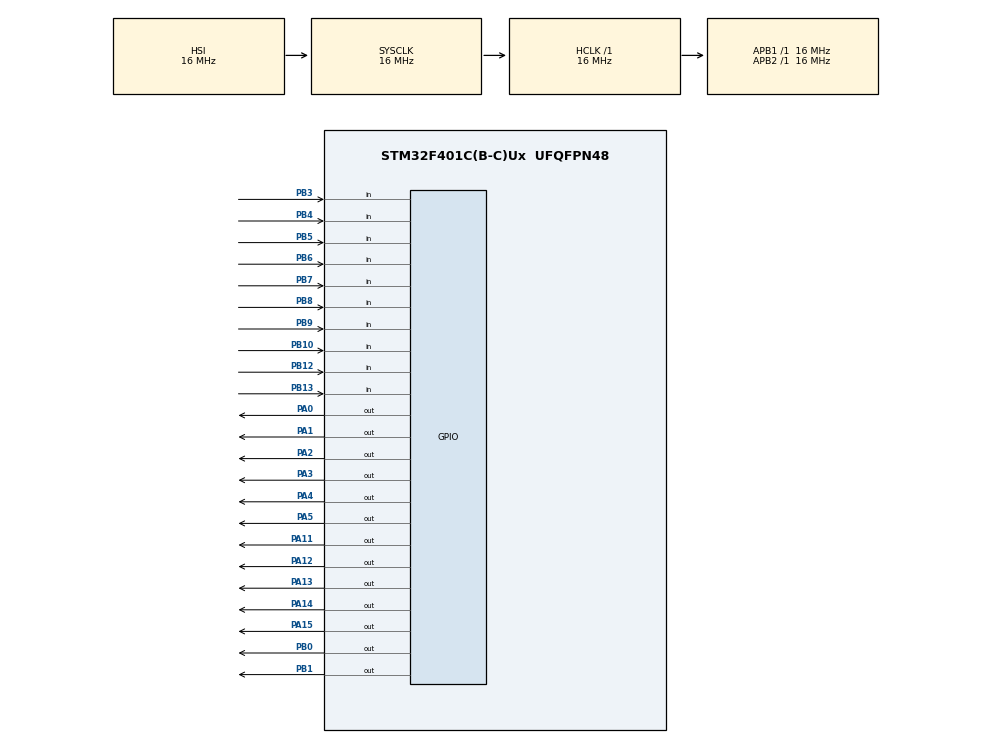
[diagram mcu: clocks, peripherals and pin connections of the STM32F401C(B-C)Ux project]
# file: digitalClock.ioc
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Mcu.Family=STM32F4
Mcu.Name=STM32F401C(B-C)Ux
Mcu.Package=UFQFPN48
NVIC.PriorityGroup=NVIC_PRIORITYGROUP_4
PA0-WKUP.Signal=GPIO_Output
PA1.Signal=GPIO_Output
PA11.Signal=GPIO_Output
PA12.Signal=GPIO_Output
PA13.Signal=GPIO_Output
PA14.Signal=GPIO_Output
PA15.Signal=GPIO_Output
PA2.Signal=GPIO_Output
PA3.Signal=GPIO_Output
PA4.Signal=GPIO_Output
PA5.Signal=GPIO_Output
PB0.Signal=GPIO_Output
PB1.Signal=GPIO_Output
PB10.GPIO_PuPd=GPIO_PULLUP
PB10.Signal=GPIO_Input
PB12.GPIO_PuPd=GPIO_PULLUP
PB12.Signal=GPIO_Input
PB13.GPIO_PuPd=GPIO_PULLUP
PB13.Signal=GPIO_Input
PB3.GPIO_PuPd=GPIO_PULLUP
PB3.Signal=GPIO_Input
PB4.GPIO_PuPd=GPIO_PULLUP
PB4.Signal=GPIO_Input
PB5.GPIO_PuPd=GPIO_PULLUP
PB5.Signal=GPIO_Input
PB6.GPIO_PuPd=GPIO_PULLUP
PB6.Signal=GPIO_Input
PB7.GPIO_PuPd=GPIO_PULLUP
PB7.Signal=GPIO_Input
PB8.GPIO_PuPd=GPIO_PULLUP
PB8.Signal=GPIO_Input
PB9.GPIO_PuPd=GPIO_PULLUP
PB9.Signal=GPIO_Input
ProjectManager.HeapSize=0x200
ProjectManager.StackSize=0x400
ProjectManager.TargetToolchain=STM32CubeIDE
RCC.AHBFreq_Value=16000000
RCC.APB1Freq_Value=16000000
RCC.APB1TimFreq_Value=16000000
RCC.APB2Freq_Value=16000000
RCC.APB2TimFreq_Value=16000000
RCC.CortexFreq_Value=2000000
RCC.Cortex_Div=SYSTICK_CLKSOURCE_HCLK_DIV8
RCC.HCLKFreq_Value=16000000
RCC.HSE_VALUE=25000000
RCC.HSI_VALUE=16000000
RCC.LSE_VALUE=32768
RCC.SYSCLKFreq_VALUE=16000000
RCC.VCOOutputFreq_Value=192000000
TIM4.Period=65535-1
TIM4.Prescaler=16-1
VP_TIM4_VS_ClockSourceINT.Mode=Internal
board=custom

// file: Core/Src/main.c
/* USER CODE BEGIN Header */
/**
  ******************************************************************************
  * @file           : main.c
  * @brief          : Main program body
  ******************************************************************************
  * @attention
  *
  * Copyright (c) 2024 STMicroelectronics.
  * All rights reserved.
  *
  * This software is licensed under terms that can be found in the LICENSE file
  * in the root directory of this software component.
  * If no LICENSE file comes with this software, it is provided AS-IS.
  *
  ******************************************************************************
  */
/* USER CODE END Header */
#include "main.h"

/* USER CODE BEGIN Includes */
#include"Application/Clock.h"
#include"Application/Alarm.h"
/* USER CODE END Includes */

TIM_HandleTypeDef htim4;

void SystemClock_Config(void);
static void MX_GPIO_Init(void);
static void MX_TIM4_Init(void);

int main(void)
{

  /* MCU Configuration--------------------------------------------------------*/

  /* Reset of all peripherals, Initializes the Flash interface and the Systick. */
  HAL_Init();

  /* Configure the system clock */
  SystemClock_Config();

  /* USER CODE BEGIN SysInit */
  /**Configure the Systick interrupt time -> 1000ms
     * then start timer */
  HAL_SYSTICK_Config(SystemCoreClock / HAL_GetTickFreq());
  /** Configure clock source **/
  HAL_SYSTICK_CLKSourceConfig(SYSTICK_CLKSOURCE_HCLK_DIV8);
  /* Disable systick interrupt until init is finished */
  CLEAR_BIT(SysTick->CTRL,SysTick_CTRL_TICKINT_Pos);

  /* USER CODE END SysInit */

  /* Initialize all configured peripherals */
  MX_GPIO_Init();
  MX_TIM4_Init();
  /* USER CODE BEGIN 2 */
  /** start timer to use for LCD delays **/
  HAL_TIM_Base_Start(&htim4);
  /** Init 1 line 16 char LCD   */
  HLCD_voidINIT();
  /** Init Clock **/
  Clock_init();
  /** Enable systick interrupt */
  SET_BIT(SysTick->CTRL,SysTick_CTRL_TICKINT_Pos);

  /* USER CODE END 2 */

  /* Infinite loop */
  while (1)
  {

    /* USER CODE BEGIN 3 */
	  /** check if set clock is pressed **/
	  if(HAL_GPIO_ReadPin(GPIOB, GPIO_PIN_3)==0){
		  Clock_setClock();
	  }
	  /** check if set alarm is pressed **/
	  else if(HAL_GPIO_ReadPin(GPIOB, GPIO_PIN_9)==0){
		  Alaram_setAlarm();
	  }
	  /** check if snooze is pressed **/
	  else if(HAL_GPIO_ReadPin(GPIOB, GPIO_PIN_10)==0){
		  Alarm_Snooze();
	  }
	  /** check if stop alarm is pressed **/
	  else if(HAL_GPIO_ReadPin(GPIOB, GPIO_PIN_12)==0){
		  Alarm_Stop();
	  }
	  /** check if alarm ON/OFF is pressed **/
	  else if(HAL_GPIO_ReadPin(GPIOB, GPIO_PIN_13)==0){
		  Alarm_ON_OFF();
  	  }
  }
  /* USER CODE END 3 */
}

void SystemClock_Config(void)
{
  RCC_OscInitTypeDef RCC_OscInitStruct = {0};
  RCC_ClkInitTypeDef RCC_ClkInitStruct = {0};

  /** Configure the main internal regulator output voltage
  */
  __HAL_RCC_PWR_CLK_ENABLE();
  __HAL_PWR_VOLTAGESCALING_CONFIG(PWR_REGULATOR_VOLTAGE_SCALE2);

  /** Initializes the RCC Oscillators according to the specified parameters
  * in the RCC_OscInitTypeDef structure.
  */
  RCC_OscInitStruct.OscillatorType = RCC_OSCILLATORTYPE_HSI;
  RCC_OscInitStruct.HSIState = RCC_HSI_ON;
  RCC_OscInitStruct.HSICalibrationValue = RCC_HSICALIBRATION_DEFAULT;
  RCC_OscInitStruct.PLL.PLLState = RCC_PLL_NONE;
  if (HAL_RCC_OscConfig(&RCC_OscInitStruct) != HAL_OK)
  {
    Error_Handler();
  }

  /** Initializes the CPU, AHB and APB buses clocks
  */
  RCC_ClkInitStruct.ClockType = RCC_CLOCKTYPE_HCLK|RCC_CLOCKTYPE_SYSCLK
                              |RCC_CLOCKTYPE_PCLK1|RCC_CLOCKTYPE_PCLK2;
  RCC_ClkInitStruct.SYSCLKSource = RCC_SYSCLKSOURCE_HSI;
  RCC_ClkInitStruct.AHBCLKDivider = RCC_SYSCLK_DIV1;
  RCC_ClkInitStruct.APB1CLKDivider = RCC_HCLK_DIV1;
  RCC_ClkInitStruct.APB2CLKDivider = RCC_HCLK_DIV1;

  if (HAL_RCC_ClockConfig(&RCC_ClkInitStruct, FLASH_LATENCY_0) != HAL_OK)
  {
    Error_Handler();
  }
}

static void MX_TIM4_Init(void)
{

  TIM_ClockConfigTypeDef sClockSourceConfig = {0};
  TIM_MasterConfigTypeDef sMasterConfig = {0};

  htim4.Instance = TIM4;
  htim4.Init.Prescaler = 16-1;
  htim4.Init.CounterMode = TIM_COUNTERMODE_UP;
  htim4.Init.Period = 65535-1;
  htim4.Init.ClockDivision = TIM_CLOCKDIVISION_DIV1;
  htim4.Init.AutoReloadPreload = TIM_AUTORELOAD_PRELOAD_DISABLE;
  if (HAL_TIM_Base_Init(&htim4) != HAL_OK)
  {
    Error_Handler();
  }
  sClockSourceConfig.ClockSource = TIM_CLOCKSOURCE_INTERNAL;
  if (HAL_TIM_ConfigClockSource(&htim4, &sClockSourceConfig) != HAL_OK)
  {
    Error_Handler();
  }
  sMasterConfig.MasterOutputTrigger = TIM_TRGO_RESET;
  sMasterConfig.MasterSlaveMode = TIM_MASTERSLAVEMODE_DISABLE;
  if (HAL_TIMEx_MasterConfigSynchronization(&htim4, &sMasterConfig) != HAL_OK)
  {
    Error_Handler();
  }

}

static void MX_GPIO_Init(void)
{
  GPIO_InitTypeDef GPIO_InitStruct = {0};

  /* GPIO Ports Clock Enable */
  __HAL_RCC_GPIOA_CLK_ENABLE();
  __HAL_RCC_GPIOB_CLK_ENABLE();

  /*Configure GPIO pin Output Level */
  HAL_GPIO_WritePin(GPIOA, GPIO_PIN_0|GPIO_PIN_1|GPIO_PIN_2|GPIO_PIN_3
                          |GPIO_PIN_4|GPIO_PIN_5|GPIO_PIN_11|GPIO_PIN_12
                          |GPIO_PIN_13|GPIO_PIN_14|GPIO_PIN_15, GPIO_PIN_RESET);

  /*Configure GPIO pin Output Level */
  HAL_GPIO_WritePin(GPIOB, GPIO_PIN_0|GPIO_PIN_1, GPIO_PIN_RESET);

  /*Configure GPIO pins : PA0 PA1 PA2 PA3
                           PA4 PA5 PA11 PA12
                           PA13 PA14 PA15 */
  GPIO_InitStruct.Pin = GPIO_PIN_0|GPIO_PIN_1|GPIO_PIN_2|GPIO_PIN_3
                          |GPIO_PIN_4|GPIO_PIN_5|GPIO_PIN_11|GPIO_PIN_12
                          |GPIO_PIN_13|GPIO_PIN_14|GPIO_PIN_15;
  GPIO_InitStruct.Mode = GPIO_MODE_OUTPUT_PP;
  GPIO_InitStruct.Pull = GPIO_NOPULL;
  GPIO_InitStruct.Speed = GPIO_SPEED_FREQ_LOW;
  HAL_GPIO_Init(GPIOA, &GPIO_InitStruct);

  /*Configure GPIO pins : PB0 PB1 */
  GPIO_InitStruct.Pin = GPIO_PIN_0|GPIO_PIN_1;
  GPIO_InitStruct.Mode = GPIO_MODE_OUTPUT_PP;
  GPIO_InitStruct.Pull = GPIO_NOPULL;
  GPIO_InitStruct.Speed = GPIO_SPEED_FREQ_LOW;
  HAL_GPIO_Init(GPIOB, &GPIO_InitStruct);

  /*Configure GPIO pins : PB10 PB12 PB13 PB3
                           PB4 PB5 PB6 PB7
                           PB8 PB9 */
  GPIO_InitStruct.Pin = GPIO_PIN_10|GPIO_PIN_12|GPIO_PIN_13|GPIO_PIN_3
                          |GPIO_PIN_4|GPIO_PIN_5|GPIO_PIN_6|GPIO_PIN_7
                          |GPIO_PIN_8|GPIO_PIN_9;
  GPIO_InitStruct.Mode = GPIO_MODE_INPUT;
  GPIO_InitStruct.Pull = GPIO_PULLUP;
  HAL_GPIO_Init(GPIOB, &GPIO_InitStruct);

}

void Error_Handler(void)
{
  __disable_irq();
  while (1)
  {
  }
}
